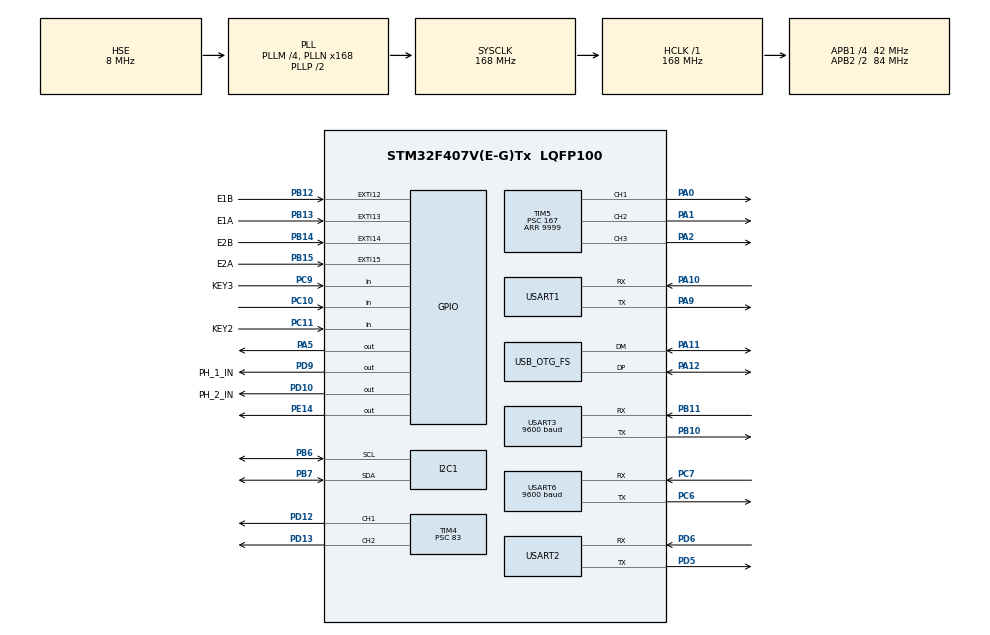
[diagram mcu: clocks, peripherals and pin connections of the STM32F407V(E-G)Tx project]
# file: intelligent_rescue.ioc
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I2C1.I2C_Mode=I2C_Fast
Mcu.Family=STM32F4
Mcu.Name=STM32F407V(E-G)Tx
Mcu.Package=LQFP100
NVIC.EXTI15_10_IRQn=true\:0\:0\:false\:false\:true\:true\:true\:true
NVIC.OTG_FS_IRQn=true\:0\:0\:false\:false\:true\:false\:true\:true
NVIC.PriorityGroup=NVIC_PRIORITYGROUP_4
NVIC.TIM1_UP_TIM10_IRQn=true\:0\:0\:false\:false\:true\:true\:true\:true
NVIC.USART1_IRQn=true\:0\:0\:false\:false\:true\:true\:true\:true
NVIC.USART2_IRQn=true\:0\:0\:false\:false\:true\:true\:true\:true
NVIC.USART3_IRQn=true\:0\:0\:false\:false\:true\:true\:true\:true
NVIC.USART6_IRQn=true\:0\:0\:false\:false\:true\:true\:true\:true
PA0-WKUP.Signal=S_TIM5_CH1
PA1.Signal=S_TIM5_CH2
PA10.Mode=Asynchronous
PA10.Signal=USART1_RX
PA11.Mode=Device_Only
PA11.Signal=USB_OTG_FS_DM
PA12.Mode=Device_Only
PA12.Signal=USB_OTG_FS_DP
PA13.Mode=Serial_Wire
PA13.Signal=SYS_JTMS-SWDIO
PA14.Mode=Serial_Wire
PA14.Signal=SYS_JTCK-SWCLK
PA2.Signal=S_TIM5_CH3
PA5.GPIO_PuPd=GPIO_PULLUP
PA5.PinState=GPIO_PIN_SET
PA5.Signal=GPIO_Output
PA9.Mode=Asynchronous
PA9.Signal=USART1_TX
PB10.Mode=Asynchronous
PB10.Signal=USART3_TX
PB11.Mode=Asynchronous
PB11.Signal=USART3_RX
PB12.GPIO_Label=E1B
PB12.GPIO_PuPd=GPIO_PULLUP
PB12.Signal=GPXTI12
PB13.GPIO_Label=E1A
PB13.GPIO_ModeDefaultEXTI=GPIO_MODE_IT_RISING_FALLING
PB13.GPIO_PuPd=GPIO_PULLUP
PB13.Signal=GPXTI13
PB14.GPIO_Label=E2B
PB14.GPIO_PuPd=GPIO_PULLUP
PB14.Signal=GPXTI14
PB15.GPIO_Label=E2A
PB15.GPIO_ModeDefaultEXTI=GPIO_MODE_IT_RISING_FALLING
PB15.GPIO_PuPd=GPIO_PULLUP
PB15.Signal=GPXTI15
PB6.Mode=I2C
PB6.Signal=I2C1_SCL
PB7.Mode=I2C
PB7.Signal=I2C1_SDA
PC10.GPIO_PuPd=GPIO_PULLUP
PC10.Signal=GPIO_Input
PC11.GPIO_Label=KEY2
PC11.GPIO_PuPd=GPIO_PULLUP
PC11.Signal=GPIO_Input
PC6.Mode=Asynchronous
PC6.Signal=USART6_TX
PC7.Mode=Asynchronous
PC7.Signal=USART6_RX
PC9.GPIO_Label=KEY3
PC9.GPIO_PuPd=GPIO_PULLUP
PC9.Signal=GPIO_Input
PD10.GPIO_Label=PH_2_IN
PD10.GPIO_PuPd=GPIO_PULLDOWN
PD10.Signal=GPIO_Output
PD12.Signal=S_TIM4_CH1
PD13.Signal=S_TIM4_CH2
PD5.Mode=Asynchronous
PD5.Signal=USART2_TX
PD6.Mode=Asynchronous
PD6.Signal=USART2_RX
PD9.GPIO_Label=PH_1_IN
PD9.GPIO_PuPd=GPIO_PULLUP
PD9.Signal=GPIO_Output
PE14.GPIO_PuPd=GPIO_PULLUP
PE14.Signal=GPIO_Output
PH0-OSC_IN.Mode=HSE-External-Oscillator
PH0-OSC_IN.Signal=RCC_OSC_IN
PH1-OSC_OUT.Mode=HSE-External-Oscillator
PH1-OSC_OUT.Signal=RCC_OSC_OUT
ProjectManager.HeapSize=0x200
ProjectManager.StackSize=0x400
ProjectManager.TargetToolchain=CMake
RCC.48MHZClocksFreq_Value=48000000
RCC.AHBFreq_Value=168000000
RCC.APB1CLKDivider=RCC_HCLK_DIV4
RCC.APB1Freq_Value=42000000
RCC.APB1TimFreq_Value=84000000
RCC.APB2CLKDivider=RCC_HCLK_DIV2
RCC.APB2Freq_Value=84000000
RCC.APB2TimFreq_Value=168000000
RCC.CortexFreq_Value=168000000
RCC.HCLKFreq_Value=168000000
RCC.HSE_VALUE=8000000
RCC.HSI_VALUE=16000000
RCC.LSE_VALUE=32768
RCC.PLLM=4
RCC.PLLN=168
RCC.PLLQ=7
RCC.SYSCLKFreq_VALUE=168000000
RCC.SYSCLKSource=RCC_SYSCLKSOURCE_PLLCLK
RCC.VCOOutputFreq_Value=336000000
SH.S_TIM4_CH1.0=TIM4_CH1,PWM Generation1 CH1
SH.S_TIM4_CH2.0=TIM4_CH2,PWM Generation2 CH2
SH.S_TIM5_CH1.0=TIM5_CH1,PWM Generation1 CH1
SH.S_TIM5_CH2.0=TIM5_CH2,PWM Generation2 CH2
SH.S_TIM5_CH3.0=TIM5_CH3,PWM Generation3 CH3
TIM1.AutoReloadPreload=TIM_AUTORELOAD_PRELOAD_ENABLE
TIM1.Prescaler=167
TIM2.AutoReloadPreload=TIM_AUTORELOAD_PRELOAD_ENABLE
TIM2.Period=499
TIM2.Prescaler=83
TIM3.AutoReloadPreload=TIM_AUTORELOAD_PRELOAD_ENABLE
TIM3.Period=9999
TIM3.Prescaler=167
TIM4.AutoReloadPreload=TIM_AUTORELOAD_PRELOAD_ENABLE
TIM4.Channel-PWM\ Generation1\ CH1=TIM_CHANNEL_1
TIM4.Channel-PWM\ Generation2\ CH2=TIM_CHANNEL_2
TIM4.Period=499
TIM4.Prescaler=83
TIM5.AutoReloadPreload=TIM_AUTORELOAD_PRELOAD_ENABLE
TIM5.Channel-PWM\ Generation1\ CH1=TIM_CHANNEL_1
TIM5.Channel-PWM\ Generation2\ CH2=TIM_CHANNEL_2
TIM5.Channel-PWM\ Generation3\ CH3=TIM_CHANNEL_3
TIM5.Period=9999
TIM5.Prescaler=167
USART1.VirtualMode=VM_ASYNC
USART2.VirtualMode=VM_ASYNC
USART3.BaudRate=9600
USART3.VirtualMode=VM_ASYNC
USART6.BaudRate=9600
USART6.VirtualMode=VM_ASYNC
USB_DEVICE.CLASS_NAME_FS=CDC
USB_DEVICE.VirtualMode-CDC_FS=Cdc
USB_DEVICE.VirtualModeFS=Cdc_FS
USB_OTG_FS.VirtualMode=Device_Only
VP_TIM1_VS_ClockSourceINT.Mode=Internal
VP_TIM2_VS_ClockSourceINT.Mode=Internal
VP_TIM3_VS_ClockSourceINT.Mode=Internal
VP_TIM4_VS_ClockSourceINT.Mode=Internal
VP_TIM5_VS_ClockSourceINT.Mode=Internal
VP_USB_DEVICE_VS_USB_DEVICE_CDC_FS.Mode=CDC_FS
board=custom

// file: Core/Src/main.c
/* USER CODE BEGIN Header */
/**
  ******************************************************************************
  * @file           : main.c
  * @brief          : Main program body
  ******************************************************************************
  * @attention
  *
  * Copyright (c) 2026 STMicroelectronics.
  * All rights reserved.
  *
  * This software is licensed under terms that can be found in the LICENSE file
  * in the root directory of this software component.
  * If no LICENSE file comes with this software, it is provided AS-IS.
  *
  ******************************************************************************
  */
/* USER CODE END Header */
#include "main.h"
#include "i2c.h"
#include "tim.h"
#include "usart.h"
#include "usb_device.h"
#include "gpio.h"

/* USER CODE BEGIN Includes */
#include "app_button.h"
#include "app_encoder.h"
#include "app_usart.h"
#include "task.h"
#include "drv8701.h"
#include "gx_delay.h"

#include "app_servo.h"
#include "app_motor.h"
#include "app_speed.h"
#include "App_Task.h"
#include "JY901S.h"
#include "rescue_usart2.h"
/* USER CODE END Includes */

/* USER CODE BEGIN PV */
uint8_t rx_byte_imu;   // USART3 接收陀螺仪数据
/*
 *调试用变量
 */
float duty_l = 0;
float duty_r = 0;
float angle_1 = 0.0f;
float angle_2 = 48.0f;
float angle_3 = 95.0f;
/* USER CODE END PV */

void SystemClock_Config(void);

int main(void)
{

  /* MCU Configuration--------------------------------------------------------*/

  /* Reset of all peripherals, Initializes the Flash interface and the Systick. */
  HAL_Init();

  /* Configure the system clock */
  SystemClock_Config();

  /* Initialize all configured peripherals */
  MX_GPIO_Init();
  MX_USART1_UART_Init();
  MX_USB_DEVICE_Init();
  MX_TIM1_Init();
  MX_TIM2_Init();
  MX_USART6_UART_Init();
  MX_TIM3_Init();
  MX_USART2_UART_Init();
  MX_USART3_UART_Init();
  MX_TIM5_Init();
  MX_TIM4_Init();
  MX_I2C1_Init();
  /* USER CODE BEGIN 2 */

  HAL_UART_Receive_IT(&huart3, &rx_byte_imu, 1);//开启串口中断

  App_Task_Init();//其他的相关初始化
  /*
   * TIM1 以 1 MHz 计数并开启更新中断，供 gx_GetUs() 提供
   * 64 位微秒时间戳。TIM1 的自动重装载值为 65535，因此每次
   * 更新中断对应 65536 us 的软件累计。
   */
  /*
   * 启动前显式清零计数器和更新标志，避免个别复位状态下遗留的
   * UIF 标志被 gx_GetUs() 当成一次真实的 16 位计数器溢出。
   */

  HAL_TIM_Base_Start_IT(&htim1);
  if (Rescue_Usart2_Start() == 0U) {
    Error_Handler();
  }
  (void)Rescue_Usart2_SendViewContext(1U, 0);
  App_USART1_Printf("start!\n");

  /* USER CODE END 2 */

  /* Infinite loop */
  /* USER CODE BEGIN WHILE */
  while (1)
  {

    // PERIODIC_START(PRINT,50)
    // App_USART1_Printf("%d\n",HAL_GetTick());
    // PERIODIC_END

    PERIODIC_START(KEY_DETECT,20)
    App_Button_Proc();
    PERIODIC_END

    PERIODIC_START(Toggle_LED,500)
    HAL_GPIO_TogglePin(GPIOA, GPIO_PIN_5);
    PERIODIC_END

    Rescue_Usart2_Process();
    App_Vision_Update();
    App_Task_Pro();
    Rescue_Usart2_Debug_Proc();

    /* USER CODE END WHILE */

  }
}

void SystemClock_Config(void)
{
  RCC_OscInitTypeDef RCC_OscInitStruct = {0};
  RCC_ClkInitTypeDef RCC_ClkInitStruct = {0};

  /** Configure the main internal regulator output voltage
  */
  __HAL_RCC_PWR_CLK_ENABLE();
  __HAL_PWR_VOLTAGESCALING_CONFIG(PWR_REGULATOR_VOLTAGE_SCALE1);

  /** Initializes the RCC Oscillators according to the specified parameters
  * in the RCC_OscInitTypeDef structure.
  */
  RCC_OscInitStruct.OscillatorType = RCC_OSCILLATORTYPE_HSE;
  RCC_OscInitStruct.HSEState = RCC_HSE_ON;
  RCC_OscInitStruct.PLL.PLLState = RCC_PLL_ON;
  RCC_OscInitStruct.PLL.PLLSource = RCC_PLLSOURCE_HSE;
  RCC_OscInitStruct.PLL.PLLM = 4;
  RCC_OscInitStruct.PLL.PLLN = 168;
  RCC_OscInitStruct.PLL.PLLP = RCC_PLLP_DIV2;
  RCC_OscInitStruct.PLL.PLLQ = 7;
  if (HAL_RCC_OscConfig(&RCC_OscInitStruct) != HAL_OK)
  {
    Error_Handler();
  }

  /** Initializes the CPU, AHB and APB buses clocks
  */
  RCC_ClkInitStruct.ClockType = RCC_CLOCKTYPE_HCLK|RCC_CLOCKTYPE_SYSCLK
                              |RCC_CLOCKTYPE_PCLK1|RCC_CLOCKTYPE_PCLK2;
  RCC_ClkInitStruct.SYSCLKSource = RCC_SYSCLKSOURCE_PLLCLK;
  RCC_ClkInitStruct.AHBCLKDivider = RCC_SYSCLK_DIV1;
  RCC_ClkInitStruct.APB1CLKDivider = RCC_HCLK_DIV4;
  RCC_ClkInitStruct.APB2CLKDivider = RCC_HCLK_DIV2;

  if (HAL_RCC_ClockConfig(&RCC_ClkInitStruct, FLASH_LATENCY_5) != HAL_OK)
  {
    Error_Handler();
  }
}

/* USER CODE BEGIN 4 */
void HAL_UART_RxCpltCallback(UART_HandleTypeDef *huart) {
  if (huart->Instance == USART3) {
    IMU_PutByte(rx_byte_imu);
    HAL_UART_Receive_IT(&huart3, &rx_byte_imu, 1);
  } else if (huart->Instance == USART2) {
    /* USART2 的组帧和缓存由协议模块负责；这里不执行电机或舵机动作。 */
    Rescue_Usart2_RxCallback();
  }
}

void HAL_UART_ErrorCallback(UART_HandleTypeDef *huart) {
  if (huart->Instance == USART2) {
    /* ORE 等阻塞错误会结束 HAL 接收；协议模块清掉残帧并重新挂接收。 */
    Rescue_Usart2_ErrorCallback();
  }
}
/* USER CODE END 4 */

void Error_Handler(void)
{
  __disable_irq();
  while (1)
  {
  }
}
